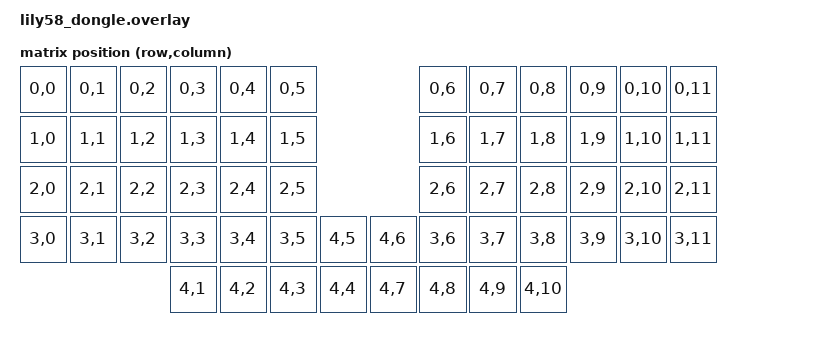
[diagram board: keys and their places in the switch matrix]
/*
 * SPDX-License-Identifier: MIT
 *
 * Lily58 dongle for the MetaKeebs ZMK split receiver
 * (nice!nano-compatible nRF52840 + 1.3" SH1106 OLED).
 */

#include <dt-bindings/zmk/matrix_transform.h>
#include <layouts/kata0510/lily58.dtsi>

/ {
    chosen {
        zmk,kscan = &mock_kscan;
        zmk,physical-layout = &kata0510_lily58_layout;
        zephyr,display = &oled;
    };

    // The dongle has no keys of its own; all key presses come from the halves.
    mock_kscan: kscan_1 {
        compatible = "zmk,kscan-mock";
        columns = <0>;
        rows = <0>;
        events = <0>;
    };

    // Same transform as ZMK's lily58 shield, so the 58-key keymap lines up.
    default_transform: keymap_transform_0 {
        compatible = "zmk,matrix-transform";
        columns = <16>;
        rows = <5>;
        map = <
RC(0,0) RC(0,1) RC(0,2) RC(0,3) RC(0,4) RC(0,5)                 RC(0,6) RC(0,7) RC(0,8) RC(0,9) RC(0,10) RC(0,11)
RC(1,0) RC(1,1) RC(1,2) RC(1,3) RC(1,4) RC(1,5)                 RC(1,6) RC(1,7) RC(1,8) RC(1,9) RC(1,10) RC(1,11)
RC(2,0) RC(2,1) RC(2,2) RC(2,3) RC(2,4) RC(2,5)                 RC(2,6) RC(2,7) RC(2,8) RC(2,9) RC(2,10) RC(2,11)
RC(3,0) RC(3,1) RC(3,2) RC(3,3) RC(3,4) RC(3,5) RC(4,5) RC(4,6) RC(3,6) RC(3,7) RC(3,8) RC(3,9) RC(3,10) RC(3,11)
                        RC(4,1) RC(4,2) RC(4,3) RC(4,4) RC(4,7) RC(4,8) RC(4,9) RC(4,10)
        >;
    };
};

&kata0510_lily58_layout {
    transform = <&default_transform>;
};

// OLED settings match the receiver's stock MetaKeebs firmware:
// SH1106 at 0x3c on the nice!nano's default I2C pins (SDA P0.17, SCL P0.20).
&pro_micro_i2c {
    status = "okay";

    oled: sh1106@3c {
        compatible = "sinowealth,sh1106";
        reg = <0x3c>;
        width = <129>;
        height = <64>;
        segment-offset = <1>;
        page-offset = <0>;
        display-offset = <0>;
        multiplex-ratio = <63>;
        segment-remap;
        com-invdir;
        inversion-on;
        prechargep = <0x22>;
    };
};
